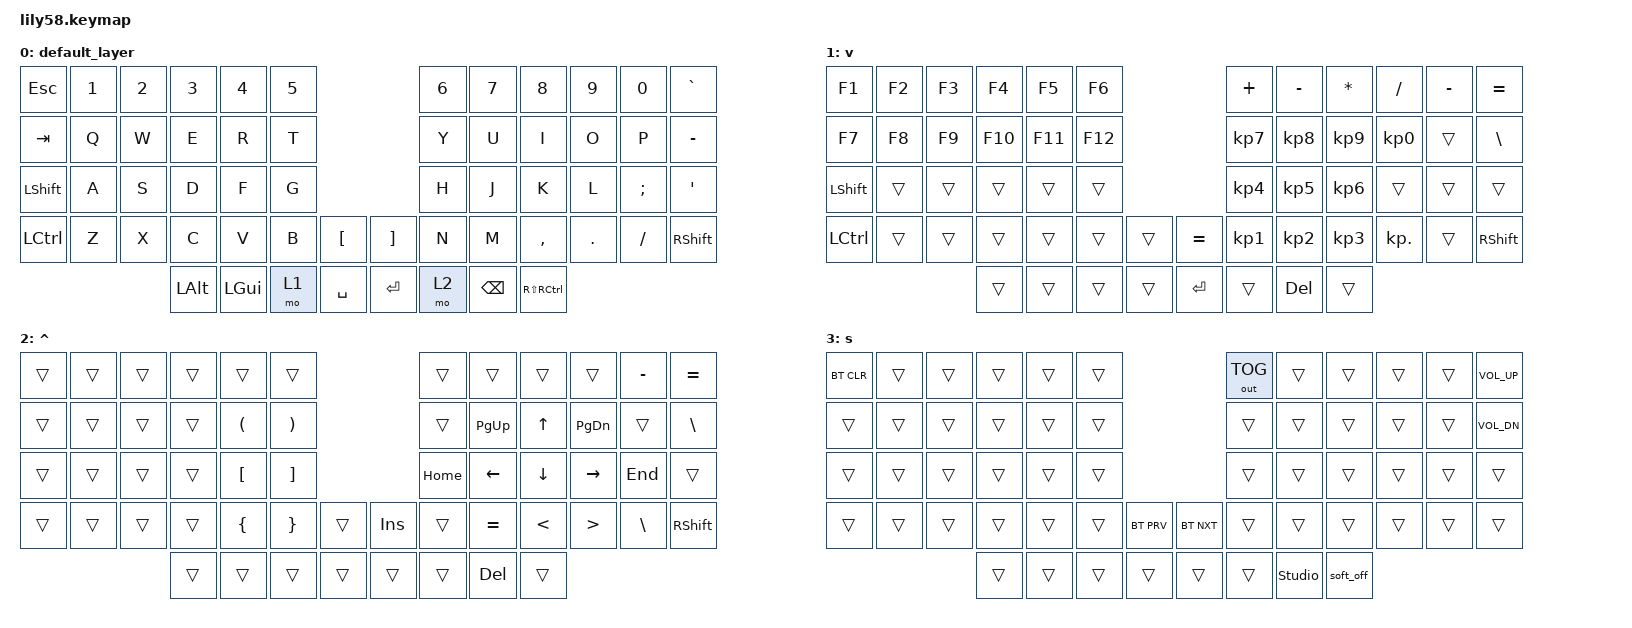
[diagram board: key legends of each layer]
/*
 * Copyright (c) 2020 The ZMK Contributors
 *
 * SPDX-License-Identifier: MIT
 */

#include <behaviors.dtsi>
#include <dt-bindings/zmk/bt.h>
#include <dt-bindings/zmk/keys.h>
#include <dt-bindings/zmk/outputs.h>

/ {
    keymap {
        compatible = "zmk,keymap";

        default_layer {
            bindings = <
&kp ESC    &kp N1  &kp N2  &kp N3    &kp N4    &kp N5                         &kp N6  &kp N7    &kp N8         &kp N9   &kp N0    &kp GRAVE
&kp TAB    &kp Q   &kp W   &kp E     &kp R     &kp T                          &kp Y   &kp U     &kp I          &kp O    &kp P     &kp MINUS
&kp LSHFT  &kp A   &kp S   &kp D     &kp F     &kp G                          &kp H   &kp J     &kp K          &kp L    &kp SEMI  &kp SQT
&kp LCTRL  &kp Z   &kp X   &kp C     &kp V     &kp B   &kp LBKT     &kp RBKT  &kp N   &kp M     &kp COMMA      &kp DOT  &kp FSLH  &kp RSHFT
                           &kp LALT  &kp LGUI  &mo 1   &kp SPACE    &kp RET   &mo 2   &kp BSPC  &kp RS(RCTRL)
            >;
        };

        lower_layer {
            bindings = <
&kp F1     &kp F2  &kp F3  &kp F4   &kp F5   &kp F6                         &kp PLUS   &kp MINUS   &kp ASTERISK     &kp SLASH   &kp MINUS  &kp EQUAL
&kp F7     &kp F8  &kp F9  &kp F10  &kp F11  &kp F12                        &kp KP_N7  &kp KP_N8   &kp KP_N9        &kp KP_N0   &trans     &kp BACKSLASH
&kp LSHFT  &trans  &trans  &trans   &trans   &trans                         &kp KP_N4  &kp KP_N5   &kp KP_NUMBER_6  &trans      &trans     &trans
&kp LCTRL  &trans  &trans  &trans   &trans   &trans   &trans    &kp EQUAL   &kp KP_N1  &kp KP_N2   &kp KP_N3        &kp KP_DOT  &trans     &kp RSHFT
                           &trans   &trans   &trans   &trans    &kp RETURN  &trans     &kp DELETE  &trans
            >;

            label = "v";
        };

        raise_layer {
            bindings = <
&trans  &trans  &trans  &trans  &trans                &trans                                    &trans    &trans      &trans         &trans            &kp MINUS      &kp EQUAL
&trans  &trans  &trans  &trans  &kp LEFT_PARENTHESIS  &kp RIGHT_PARENTHESIS                     &trans    &kp PG_UP   &kp UP         &kp PG_DN         &trans         &kp BACKSLASH
&trans  &trans  &trans  &trans  &kp LEFT_BRACKET      &kp RIGHT_BRACKET                         &kp HOME  &kp LEFT    &kp DOWN       &kp RIGHT         &kp END        &trans
&trans  &trans  &trans  &trans  &kp LEFT_BRACE        &kp RIGHT_BRACE        &trans    &kp INS  &trans    &kp EQUAL   &kp LESS_THAN  &kp GREATER_THAN  &kp BACKSLASH  &kp RSHFT
                        &trans  &trans                &trans                 &trans    &trans   &trans    &kp DELETE  &trans
            >;

            label = "^";
        };

        layer_3 {
            bindings = <
&bt BT_CLR  &trans  &trans  &trans  &trans  &trans                            &out OUT_TOG  &trans  &trans     &trans  &trans  &kp C_VOLUME_UP
&trans      &trans  &trans  &trans  &trans  &trans                            &trans        &trans  &trans     &trans  &trans  &kp C_VOL_DN
&trans      &trans  &trans  &trans  &trans  &trans                            &trans        &trans  &trans     &trans  &trans  &trans
&trans      &trans  &trans  &trans  &trans  &trans  &bt BT_PRV    &bt BT_NXT  &trans        &trans  &trans     &trans  &trans  &trans
                            &trans  &trans  &trans  &trans        &trans      &trans        &studio_unlock  &soft_off
            >;

            label = "s";
        };
    };

    conditional_layers {
        compatible = "zmk,conditional-layers";

        layer3 {
            if-layers = <1 2>;
            then-layer = <3>;
        };
    };
};
